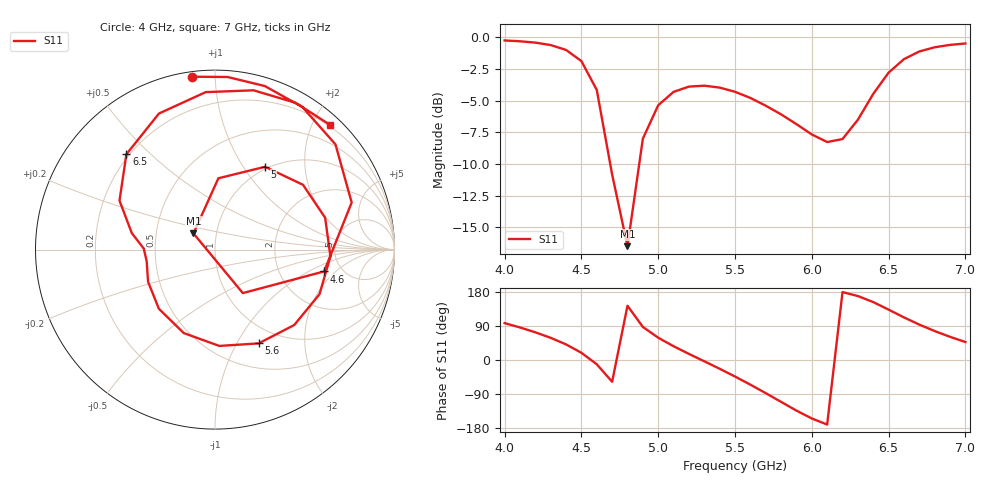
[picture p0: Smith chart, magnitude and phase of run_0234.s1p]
! Touchstone file exported from HFSS 2024.2.0
!  File:  C:/Users/wsak9/Desktop/Sim Fast/Widenad Patch/WP_AI_V1_sweep.aedt
!  Generated:  12:48:00 AM Oct 14, 2026
!  Design:  A1_model
!  Project:  WP_AI_V1_sweep
!  Setup:  Setup1
!  Solution:  Sweep
! Variables:
!  Air_gap = 1.51mm
!  Curve_Amp1 = 0.61
!  Curve_len1 = 1
!  Curve_pos = 11.265mm
!  Extra = 4.52mm
!  H_sub = 0.79mm
!  L_Patch = 18.53mm
!  L_Patch1 = 16.7mm
!  Sx = 3.05mm
!  Sy = 4.47mm
!  WS = 0.34mm
!  W_Patch = 15.04mm
!  W_Patch1 = 12.18mm
!Data is not renormalized
# GHz S MA
! Terminal data exported
! Port[1] = 1
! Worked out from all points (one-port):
!   31 points, 4 GHz to 7 GHz, reference per port
!   lowest |S11| = -16.5 dB at 4.8 GHz (marker M1), VSWR 1.35
!   |S11| at or under -10 dB: 4.688 GHz to 4.876 GHz (188.8 MHz wide, 3.95 % of centre)
!   S11 on the Smith chart (normalised r, x): 4 GHz: 0.03, +0.88; 4.6 GHz: 3.65, -1.44; 5 GHz: 0.97, +1.26; 5.6 GHz: 0.79, -1.24; 6.5 GHz: 0.19, +0.42; 7 GHz: 0.17, +2.27
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4  0.9714 97.4
4.2  0.9525 73.0
4.3  0.9318 58.5
4.4  0.8912 41.1
4.5  0.8054 19.0
4.6  0.6199 -11.3
4.7  0.2877 -57.4
4.8  0.15 143.1
4.9  0.3979 87.3
5  0.5392 58.8
5.1  0.609 36.3
5.2  0.6388 16.1
5.3  0.6443 -3.4
5.4  0.6331 -23.1
5.5  0.6095 -43.6
5.6  0.5763 -65.0
5.7  0.5372 -87.4
5.8  0.4965 -110.5
5.9  0.4543 -133.5
6.1  0.3861 -170.3
6.2  0.3968 179.2
6.3  0.4729 168.7
6.4  0.5979 152.9
6.5  0.7251 132.9
6.6  0.8199 112.4
6.7  0.8788 93.4
6.8  0.9131 76.4
7  0.945 47.4
